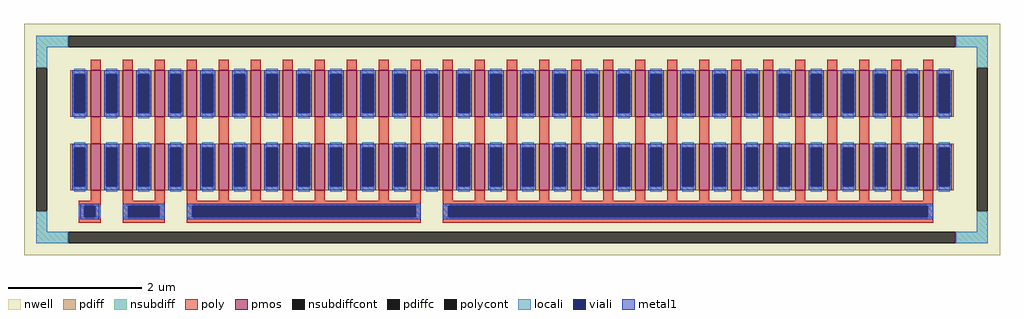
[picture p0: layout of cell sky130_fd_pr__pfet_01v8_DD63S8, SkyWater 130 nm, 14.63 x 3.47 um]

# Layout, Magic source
magic
tech sky130A
magscale 1 2
<< nwell >>
rect -1463 -397 1463 297
<< pmos >>
rect -1263 18 -1233 158
rect -1167 18 -1137 158
rect -1071 18 -1041 158
rect -975 18 -945 158
rect -879 18 -849 158
rect -783 18 -753 158
rect -687 18 -657 158
rect -591 18 -561 158
rect -495 18 -465 158
rect -399 18 -369 158
rect -303 18 -273 158
rect -207 18 -177 158
rect -111 18 -81 158
rect -15 18 15 158
rect 81 18 111 158
rect 177 18 207 158
rect 273 18 303 158
rect 369 18 399 158
rect 465 18 495 158
rect 561 18 591 158
rect 657 18 687 158
rect 753 18 783 158
rect 849 18 879 158
rect 945 18 975 158
rect 1041 18 1071 158
rect 1137 18 1167 158
rect 1233 18 1263 158
rect -1263 -202 -1233 -62
rect -1167 -202 -1137 -62
rect -1071 -202 -1041 -62
rect -975 -202 -945 -62
rect -879 -202 -849 -62
rect -783 -202 -753 -62
rect -687 -202 -657 -62
rect -591 -202 -561 -62
rect -495 -202 -465 -62
rect -399 -202 -369 -62
rect -303 -202 -273 -62
rect -207 -202 -177 -62
rect -111 -202 -81 -62
rect -15 -202 15 -62
rect 81 -202 111 -62
rect 177 -202 207 -62
rect 273 -202 303 -62
rect 369 -202 399 -62
rect 465 -202 495 -62
rect 561 -202 591 -62
rect 657 -202 687 -62
rect 753 -202 783 -62
rect 849 -202 879 -62
rect 945 -202 975 -62
rect 1041 -202 1071 -62
rect 1137 -202 1167 -62
rect 1233 -202 1263 -62
<< pdiff >>
rect -1325 146 -1263 158
rect -1325 30 -1313 146
rect -1279 30 -1263 146
rect -1325 18 -1263 30
rect -1233 146 -1167 158
rect -1233 30 -1217 146
rect -1183 30 -1167 146
rect -1233 18 -1167 30
rect -1137 146 -1071 158
rect -1137 30 -1121 146
rect -1087 30 -1071 146
rect -1137 18 -1071 30
rect -1041 146 -975 158
rect -1041 30 -1025 146
rect -991 30 -975 146
rect -1041 18 -975 30
rect -945 146 -879 158
rect -945 30 -929 146
rect -895 30 -879 146
rect -945 18 -879 30
rect -849 146 -783 158
rect -849 30 -833 146
rect -799 30 -783 146
rect -849 18 -783 30
rect -753 146 -687 158
rect -753 30 -737 146
rect -703 30 -687 146
rect -753 18 -687 30
rect -657 146 -591 158
rect -657 30 -641 146
rect -607 30 -591 146
rect -657 18 -591 30
rect -561 146 -495 158
rect -561 30 -545 146
rect -511 30 -495 146
rect -561 18 -495 30
rect -465 146 -399 158
rect -465 30 -449 146
rect -415 30 -399 146
rect -465 18 -399 30
rect -369 146 -303 158
rect -369 30 -353 146
rect -319 30 -303 146
rect -369 18 -303 30
rect -273 146 -207 158
rect -273 30 -257 146
rect -223 30 -207 146
rect -273 18 -207 30
rect -177 146 -111 158
rect -177 30 -161 146
rect -127 30 -111 146
rect -177 18 -111 30
rect -81 146 -15 158
rect -81 30 -65 146
rect -31 30 -15 146
rect -81 18 -15 30
rect 15 146 81 158
rect 15 30 31 146
rect 65 30 81 146
rect 15 18 81 30
rect 111 146 177 158
rect 111 30 127 146
rect 161 30 177 146
rect 111 18 177 30
rect 207 146 273 158
rect 207 30 223 146
rect 257 30 273 146
rect 207 18 273 30
rect 303 146 369 158
rect 303 30 319 146
rect 353 30 369 146
rect 303 18 369 30
rect 399 146 465 158
rect 399 30 415 146
rect 449 30 465 146
rect 399 18 465 30
rect 495 146 561 158
rect 495 30 511 146
rect 545 30 561 146
rect 495 18 561 30
rect 591 146 657 158
rect 591 30 607 146
rect 641 30 657 146
rect 591 18 657 30
rect 687 146 753 158
rect 687 30 703 146
rect 737 30 753 146
rect 687 18 753 30
rect 783 146 849 158
rect 783 30 799 146
rect 833 30 849 146
rect 783 18 849 30
rect 879 146 945 158
rect 879 30 895 146
rect 929 30 945 146
rect 879 18 945 30
rect 975 146 1041 158
rect 975 30 991 146
rect 1025 30 1041 146
rect 975 18 1041 30
rect 1071 146 1137 158
rect 1071 30 1087 146
rect 1121 30 1137 146
rect 1071 18 1137 30
rect 1167 146 1233 158
rect 1167 30 1183 146
rect 1217 30 1233 146
rect 1167 18 1233 30
rect 1263 146 1325 158
rect 1263 30 1279 146
rect 1313 30 1325 146
rect 1263 18 1325 30
rect -1325 -74 -1263 -62
rect -1325 -190 -1313 -74
rect -1279 -190 -1263 -74
rect -1325 -202 -1263 -190
rect -1233 -74 -1167 -62
rect -1233 -190 -1217 -74
rect -1183 -190 -1167 -74
rect -1233 -202 -1167 -190
rect -1137 -74 -1071 -62
rect -1137 -190 -1121 -74
rect -1087 -190 -1071 -74
rect -1137 -202 -1071 -190
rect -1041 -74 -975 -62
rect -1041 -190 -1025 -74
rect -991 -190 -975 -74
rect -1041 -202 -975 -190
rect -945 -74 -879 -62
rect -945 -190 -929 -74
rect -895 -190 -879 -74
rect -945 -202 -879 -190
rect -849 -74 -783 -62
rect -849 -190 -833 -74
rect -799 -190 -783 -74
rect -849 -202 -783 -190
rect -753 -74 -687 -62
rect -753 -190 -737 -74
rect -703 -190 -687 -74
rect -753 -202 -687 -190
rect -657 -74 -591 -62
rect -657 -190 -641 -74
rect -607 -190 -591 -74
rect -657 -202 -591 -190
rect -561 -74 -495 -62
rect -561 -190 -545 -74
rect -511 -190 -495 -74
rect -561 -202 -495 -190
rect -465 -74 -399 -62
rect -465 -190 -449 -74
rect -415 -190 -399 -74
rect -465 -202 -399 -190
rect -369 -74 -303 -62
rect -369 -190 -353 -74
rect -319 -190 -303 -74
rect -369 -202 -303 -190
rect -273 -74 -207 -62
rect -273 -190 -257 -74
rect -223 -190 -207 -74
rect -273 -202 -207 -190
rect -177 -74 -111 -62
rect -177 -190 -161 -74
rect -127 -190 -111 -74
rect -177 -202 -111 -190
rect -81 -74 -15 -62
rect -81 -190 -65 -74
rect -31 -190 -15 -74
rect -81 -202 -15 -190
rect 15 -74 81 -62
rect 15 -190 31 -74
rect 65 -190 81 -74
rect 15 -202 81 -190
rect 111 -74 177 -62
rect 111 -190 127 -74
rect 161 -190 177 -74
rect 111 -202 177 -190
rect 207 -74 273 -62
rect 207 -190 223 -74
rect 257 -190 273 -74
rect 207 -202 273 -190
rect 303 -74 369 -62
rect 303 -190 319 -74
rect 353 -190 369 -74
rect 303 -202 369 -190
rect 399 -74 465 -62
rect 399 -190 415 -74
rect 449 -190 465 -74
rect 399 -202 465 -190
rect 495 -74 561 -62
rect 495 -190 511 -74
rect 545 -190 561 -74
rect 495 -202 561 -190
rect 591 -74 657 -62
rect 591 -190 607 -74
rect 641 -190 657 -74
rect 591 -202 657 -190
rect 687 -74 753 -62
rect 687 -190 703 -74
rect 737 -190 753 -74
rect 687 -202 753 -190
rect 783 -74 849 -62
rect 783 -190 799 -74
rect 833 -190 849 -74
rect 783 -202 849 -190
rect 879 -74 945 -62
rect 879 -190 895 -74
rect 929 -190 945 -74
rect 879 -202 945 -190
rect 975 -74 1041 -62
rect 975 -190 991 -74
rect 1025 -190 1041 -74
rect 975 -202 1041 -190
rect 1071 -74 1137 -62
rect 1071 -190 1087 -74
rect 1121 -190 1137 -74
rect 1071 -202 1137 -190
rect 1167 -74 1233 -62
rect 1167 -190 1183 -74
rect 1217 -190 1233 -74
rect 1167 -202 1233 -190
rect 1263 -74 1325 -62
rect 1263 -190 1279 -74
rect 1313 -190 1325 -74
rect 1263 -202 1325 -190
<< pdiffc >>
rect -1313 30 -1279 146
rect -1217 30 -1183 146
rect -1121 30 -1087 146
rect -1025 30 -991 146
rect -929 30 -895 146
rect -833 30 -799 146
rect -737 30 -703 146
rect -641 30 -607 146
rect -545 30 -511 146
rect -449 30 -415 146
rect -353 30 -319 146
rect -257 30 -223 146
rect -161 30 -127 146
rect -65 30 -31 146
rect 31 30 65 146
rect 127 30 161 146
rect 223 30 257 146
rect 319 30 353 146
rect 415 30 449 146
rect 511 30 545 146
rect 607 30 641 146
rect 703 30 737 146
rect 799 30 833 146
rect 895 30 929 146
rect 991 30 1025 146
rect 1087 30 1121 146
rect 1183 30 1217 146
rect 1279 30 1313 146
rect -1313 -190 -1279 -74
rect -1217 -190 -1183 -74
rect -1121 -190 -1087 -74
rect -1025 -190 -991 -74
rect -929 -190 -895 -74
rect -833 -190 -799 -74
rect -737 -190 -703 -74
rect -641 -190 -607 -74
rect -545 -190 -511 -74
rect -449 -190 -415 -74
rect -353 -190 -319 -74
rect -257 -190 -223 -74
rect -161 -190 -127 -74
rect -65 -190 -31 -74
rect 31 -190 65 -74
rect 127 -190 161 -74
rect 223 -190 257 -74
rect 319 -190 353 -74
rect 415 -190 449 -74
rect 511 -190 545 -74
rect 607 -190 641 -74
rect 703 -190 737 -74
rect 799 -190 833 -74
rect 895 -190 929 -74
rect 991 -190 1025 -74
rect 1087 -190 1121 -74
rect 1183 -190 1217 -74
rect 1279 -190 1313 -74
<< nsubdiff >>
rect -1427 227 -1331 261
rect 1331 227 1427 261
rect -1427 165 -1393 227
rect 1393 165 1427 227
rect -1427 -327 -1393 -265
rect 1393 -327 1427 -265
rect -1427 -361 -1331 -327
rect 1331 -361 1427 -327
<< nsubdiffcont >>
rect -1331 227 1331 261
rect -1427 -265 -1393 165
rect 1393 -265 1427 165
rect -1331 -361 1331 -327
<< poly >>
rect -1263 158 -1233 189
rect -1167 158 -1137 189
rect -1071 158 -1041 189
rect -975 158 -945 189
rect -879 158 -849 189
rect -783 158 -753 189
rect -687 158 -657 189
rect -591 158 -561 189
rect -495 158 -465 189
rect -399 158 -369 189
rect -303 158 -273 189
rect -207 158 -177 189
rect -111 158 -81 189
rect -15 158 15 189
rect 81 158 111 189
rect 177 158 207 189
rect 273 158 303 189
rect 369 158 399 189
rect 465 158 495 189
rect 561 158 591 189
rect 657 158 687 189
rect 753 158 783 189
rect 849 158 879 189
rect 945 158 975 189
rect 1041 158 1071 189
rect 1137 158 1167 189
rect 1233 158 1263 189
rect -1263 -62 -1233 18
rect -1167 -62 -1137 18
rect -1071 -62 -1041 18
rect -975 -62 -945 18
rect -879 -62 -849 18
rect -783 -62 -753 18
rect -687 -62 -657 18
rect -591 -62 -561 18
rect -495 -62 -465 18
rect -399 -62 -369 18
rect -303 -62 -273 18
rect -207 -62 -177 18
rect -111 -62 -81 18
rect -15 -62 15 18
rect 81 -62 111 18
rect 177 -62 207 18
rect 273 -62 303 18
rect 369 -62 399 18
rect 465 -62 495 18
rect 561 -62 591 18
rect 657 -62 687 18
rect 753 -62 783 18
rect 849 -62 879 18
rect 945 -62 975 18
rect 1041 -62 1071 18
rect 1137 -62 1167 18
rect 1233 -62 1263 18
rect -1263 -233 -1233 -202
rect -1299 -249 -1233 -233
rect -1299 -283 -1283 -249
rect -1249 -283 -1233 -249
rect -1299 -299 -1233 -283
rect -1167 -233 -1137 -202
rect -1071 -233 -1041 -202
rect -1167 -249 -1041 -233
rect -1167 -283 -1151 -249
rect -1057 -283 -1041 -249
rect -1167 -299 -1041 -283
rect -975 -233 -945 -202
rect -879 -233 -849 -202
rect -783 -233 -753 -202
rect -687 -233 -657 -202
rect -591 -233 -561 -202
rect -495 -233 -465 -202
rect -399 -233 -369 -202
rect -303 -233 -273 -202
rect -975 -249 -273 -233
rect -975 -283 -959 -249
rect -289 -283 -273 -249
rect -975 -299 -273 -283
rect -207 -233 -177 -202
rect -111 -233 -81 -202
rect -15 -233 15 -202
rect 81 -233 111 -202
rect 177 -233 207 -202
rect 273 -233 303 -202
rect 369 -233 399 -202
rect 465 -233 495 -202
rect 561 -233 591 -202
rect 657 -233 687 -202
rect 753 -233 783 -202
rect 849 -233 879 -202
rect 945 -233 975 -202
rect 1041 -233 1071 -202
rect 1137 -233 1167 -202
rect 1233 -233 1263 -202
rect -207 -249 1263 -233
rect -207 -283 -191 -249
rect 1247 -283 1263 -249
rect -207 -299 1263 -283
<< polycont >>
rect -1283 -283 -1249 -249
rect -1151 -283 -1057 -249
rect -959 -283 -289 -249
rect -191 -283 1247 -249
<< locali >>
rect -1427 227 -1331 261
rect 1331 227 1427 261
rect -1427 165 -1393 227
rect 1393 165 1427 227
rect -1313 146 -1279 162
rect -1313 14 -1279 30
rect -1217 146 -1183 162
rect -1217 14 -1183 30
rect -1121 146 -1087 162
rect -1121 14 -1087 30
rect -1025 146 -991 162
rect -1025 14 -991 30
rect -929 146 -895 162
rect -929 14 -895 30
rect -833 146 -799 162
rect -833 14 -799 30
rect -737 146 -703 162
rect -737 14 -703 30
rect -641 146 -607 162
rect -641 14 -607 30
rect -545 146 -511 162
rect -545 14 -511 30
rect -449 146 -415 162
rect -449 14 -415 30
rect -353 146 -319 162
rect -353 14 -319 30
rect -257 146 -223 162
rect -257 14 -223 30
rect -161 146 -127 162
rect -161 14 -127 30
rect -65 146 -31 162
rect -65 14 -31 30
rect 31 146 65 162
rect 31 14 65 30
rect 127 146 161 162
rect 127 14 161 30
rect 223 146 257 162
rect 223 14 257 30
rect 319 146 353 162
rect 319 14 353 30
rect 415 146 449 162
rect 415 14 449 30
rect 511 146 545 162
rect 511 14 545 30
rect 607 146 641 162
rect 607 14 641 30
rect 703 146 737 162
rect 703 14 737 30
rect 799 146 833 162
rect 799 14 833 30
rect 895 146 929 162
rect 895 14 929 30
rect 991 146 1025 162
rect 991 14 1025 30
rect 1087 146 1121 162
rect 1087 14 1121 30
rect 1183 146 1217 162
rect 1183 14 1217 30
rect 1279 146 1313 162
rect 1279 14 1313 30
rect -1313 -74 -1279 -58
rect -1313 -206 -1279 -190
rect -1217 -74 -1183 -58
rect -1217 -206 -1183 -190
rect -1121 -74 -1087 -58
rect -1121 -206 -1087 -190
rect -1025 -74 -991 -58
rect -1025 -206 -991 -190
rect -929 -74 -895 -58
rect -929 -206 -895 -190
rect -833 -74 -799 -58
rect -833 -206 -799 -190
rect -737 -74 -703 -58
rect -737 -206 -703 -190
rect -641 -74 -607 -58
rect -641 -206 -607 -190
rect -545 -74 -511 -58
rect -545 -206 -511 -190
rect -449 -74 -415 -58
rect -449 -206 -415 -190
rect -353 -74 -319 -58
rect -353 -206 -319 -190
rect -257 -74 -223 -58
rect -257 -206 -223 -190
rect -161 -74 -127 -58
rect -161 -206 -127 -190
rect -65 -74 -31 -58
rect -65 -206 -31 -190
rect 31 -74 65 -58
rect 31 -206 65 -190
rect 127 -74 161 -58
rect 127 -206 161 -190
rect 223 -74 257 -58
rect 223 -206 257 -190
rect 319 -74 353 -58
rect 319 -206 353 -190
rect 415 -74 449 -58
rect 415 -206 449 -190
rect 511 -74 545 -58
rect 511 -206 545 -190
rect 607 -74 641 -58
rect 607 -206 641 -190
rect 703 -74 737 -58
rect 703 -206 737 -190
rect 799 -74 833 -58
rect 799 -206 833 -190
rect 895 -74 929 -58
rect 895 -206 929 -190
rect 991 -74 1025 -58
rect 991 -206 1025 -190
rect 1087 -74 1121 -58
rect 1087 -206 1121 -190
rect 1183 -74 1217 -58
rect 1183 -206 1217 -190
rect 1279 -74 1313 -58
rect 1279 -206 1313 -190
rect -1427 -327 -1393 -265
rect -1299 -283 -1283 -249
rect -1249 -283 -1233 -249
rect -1167 -283 -1151 -249
rect -1057 -283 -1041 -249
rect -975 -283 -959 -249
rect -289 -283 -273 -249
rect -207 -283 -191 -249
rect 1247 -283 1263 -249
rect 1393 -327 1427 -265
rect -1427 -361 -1331 -327
rect 1331 -361 1427 -327
<< viali >>
rect -1313 30 -1279 146
rect -1217 30 -1183 146
rect -1121 30 -1087 146
rect -1025 30 -991 146
rect -929 30 -895 146
rect -833 30 -799 146
rect -737 30 -703 146
rect -641 30 -607 146
rect -545 30 -511 146
rect -449 30 -415 146
rect -353 30 -319 146
rect -257 30 -223 146
rect -161 30 -127 146
rect -65 30 -31 146
rect 31 30 65 146
rect 127 30 161 146
rect 223 30 257 146
rect 319 30 353 146
rect 415 30 449 146
rect 511 30 545 146
rect 607 30 641 146
rect 703 30 737 146
rect 799 30 833 146
rect 895 30 929 146
rect 991 30 1025 146
rect 1087 30 1121 146
rect 1183 30 1217 146
rect 1279 30 1313 146
rect -1313 -190 -1279 -74
rect -1217 -190 -1183 -74
rect -1121 -190 -1087 -74
rect -1025 -190 -991 -74
rect -929 -190 -895 -74
rect -833 -190 -799 -74
rect -737 -190 -703 -74
rect -641 -190 -607 -74
rect -545 -190 -511 -74
rect -449 -190 -415 -74
rect -353 -190 -319 -74
rect -257 -190 -223 -74
rect -161 -190 -127 -74
rect -65 -190 -31 -74
rect 31 -190 65 -74
rect 127 -190 161 -74
rect 223 -190 257 -74
rect 319 -190 353 -74
rect 415 -190 449 -74
rect 511 -190 545 -74
rect 607 -190 641 -74
rect 703 -190 737 -74
rect 799 -190 833 -74
rect 895 -190 929 -74
rect 991 -190 1025 -74
rect 1087 -190 1121 -74
rect 1183 -190 1217 -74
rect 1279 -190 1313 -74
rect -1283 -283 -1249 -249
rect -1151 -283 -1057 -249
rect -959 -283 -289 -249
rect -191 -283 1247 -249
<< metal1 >>
rect -1319 146 -1273 158
rect -1319 30 -1313 146
rect -1279 30 -1273 146
rect -1319 18 -1273 30
rect -1223 146 -1177 158
rect -1223 30 -1217 146
rect -1183 30 -1177 146
rect -1223 18 -1177 30
rect -1127 146 -1081 158
rect -1127 30 -1121 146
rect -1087 30 -1081 146
rect -1127 18 -1081 30
rect -1031 146 -985 158
rect -1031 30 -1025 146
rect -991 30 -985 146
rect -1031 18 -985 30
rect -935 146 -889 158
rect -935 30 -929 146
rect -895 30 -889 146
rect -935 18 -889 30
rect -839 146 -793 158
rect -839 30 -833 146
rect -799 30 -793 146
rect -839 18 -793 30
rect -743 146 -697 158
rect -743 30 -737 146
rect -703 30 -697 146
rect -743 18 -697 30
rect -647 146 -601 158
rect -647 30 -641 146
rect -607 30 -601 146
rect -647 18 -601 30
rect -551 146 -505 158
rect -551 30 -545 146
rect -511 30 -505 146
rect -551 18 -505 30
rect -455 146 -409 158
rect -455 30 -449 146
rect -415 30 -409 146
rect -455 18 -409 30
rect -359 146 -313 158
rect -359 30 -353 146
rect -319 30 -313 146
rect -359 18 -313 30
rect -263 146 -217 158
rect -263 30 -257 146
rect -223 30 -217 146
rect -263 18 -217 30
rect -167 146 -121 158
rect -167 30 -161 146
rect -127 30 -121 146
rect -167 18 -121 30
rect -71 146 -25 158
rect -71 30 -65 146
rect -31 30 -25 146
rect -71 18 -25 30
rect 25 146 71 158
rect 25 30 31 146
rect 65 30 71 146
rect 25 18 71 30
rect 121 146 167 158
rect 121 30 127 146
rect 161 30 167 146
rect 121 18 167 30
rect 217 146 263 158
rect 217 30 223 146
rect 257 30 263 146
rect 217 18 263 30
rect 313 146 359 158
rect 313 30 319 146
rect 353 30 359 146
rect 313 18 359 30
rect 409 146 455 158
rect 409 30 415 146
rect 449 30 455 146
rect 409 18 455 30
rect 505 146 551 158
rect 505 30 511 146
rect 545 30 551 146
rect 505 18 551 30
rect 601 146 647 158
rect 601 30 607 146
rect 641 30 647 146
rect 601 18 647 30
rect 697 146 743 158
rect 697 30 703 146
rect 737 30 743 146
rect 697 18 743 30
rect 793 146 839 158
rect 793 30 799 146
rect 833 30 839 146
rect 793 18 839 30
rect 889 146 935 158
rect 889 30 895 146
rect 929 30 935 146
rect 889 18 935 30
rect 985 146 1031 158
rect 985 30 991 146
rect 1025 30 1031 146
rect 985 18 1031 30
rect 1081 146 1127 158
rect 1081 30 1087 146
rect 1121 30 1127 146
rect 1081 18 1127 30
rect 1177 146 1223 158
rect 1177 30 1183 146
rect 1217 30 1223 146
rect 1177 18 1223 30
rect 1273 146 1319 158
rect 1273 30 1279 146
rect 1313 30 1319 146
rect 1273 18 1319 30
rect -1319 -74 -1273 -62
rect -1319 -190 -1313 -74
rect -1279 -190 -1273 -74
rect -1319 -202 -1273 -190
rect -1223 -74 -1177 -62
rect -1223 -190 -1217 -74
rect -1183 -190 -1177 -74
rect -1223 -202 -1177 -190
rect -1127 -74 -1081 -62
rect -1127 -190 -1121 -74
rect -1087 -190 -1081 -74
rect -1127 -202 -1081 -190
rect -1031 -74 -985 -62
rect -1031 -190 -1025 -74
rect -991 -190 -985 -74
rect -1031 -202 -985 -190
rect -935 -74 -889 -62
rect -935 -190 -929 -74
rect -895 -190 -889 -74
rect -935 -202 -889 -190
rect -839 -74 -793 -62
rect -839 -190 -833 -74
rect -799 -190 -793 -74
rect -839 -202 -793 -190
rect -743 -74 -697 -62
rect -743 -190 -737 -74
rect -703 -190 -697 -74
rect -743 -202 -697 -190
rect -647 -74 -601 -62
rect -647 -190 -641 -74
rect -607 -190 -601 -74
rect -647 -202 -601 -190
rect -551 -74 -505 -62
rect -551 -190 -545 -74
rect -511 -190 -505 -74
rect -551 -202 -505 -190
rect -455 -74 -409 -62
rect -455 -190 -449 -74
rect -415 -190 -409 -74
rect -455 -202 -409 -190
rect -359 -74 -313 -62
rect -359 -190 -353 -74
rect -319 -190 -313 -74
rect -359 -202 -313 -190
rect -263 -74 -217 -62
rect -263 -190 -257 -74
rect -223 -190 -217 -74
rect -263 -202 -217 -190
rect -167 -74 -121 -62
rect -167 -190 -161 -74
rect -127 -190 -121 -74
rect -167 -202 -121 -190
rect -71 -74 -25 -62
rect -71 -190 -65 -74
rect -31 -190 -25 -74
rect -71 -202 -25 -190
rect 25 -74 71 -62
rect 25 -190 31 -74
rect 65 -190 71 -74
rect 25 -202 71 -190
rect 121 -74 167 -62
rect 121 -190 127 -74
rect 161 -190 167 -74
rect 121 -202 167 -190
rect 217 -74 263 -62
rect 217 -190 223 -74
rect 257 -190 263 -74
rect 217 -202 263 -190
rect 313 -74 359 -62
rect 313 -190 319 -74
rect 353 -190 359 -74
rect 313 -202 359 -190
rect 409 -74 455 -62
rect 409 -190 415 -74
rect 449 -190 455 -74
rect 409 -202 455 -190
rect 505 -74 551 -62
rect 505 -190 511 -74
rect 545 -190 551 -74
rect 505 -202 551 -190
rect 601 -74 647 -62
rect 601 -190 607 -74
rect 641 -190 647 -74
rect 601 -202 647 -190
rect 697 -74 743 -62
rect 697 -190 703 -74
rect 737 -190 743 -74
rect 697 -202 743 -190
rect 793 -74 839 -62
rect 793 -190 799 -74
rect 833 -190 839 -74
rect 793 -202 839 -190
rect 889 -74 935 -62
rect 889 -190 895 -74
rect 929 -190 935 -74
rect 889 -202 935 -190
rect 985 -74 1031 -62
rect 985 -190 991 -74
rect 1025 -190 1031 -74
rect 985 -202 1031 -190
rect 1081 -74 1127 -62
rect 1081 -190 1087 -74
rect 1121 -190 1127 -74
rect 1081 -202 1127 -190
rect 1177 -74 1223 -62
rect 1177 -190 1183 -74
rect 1217 -190 1223 -74
rect 1177 -202 1223 -190
rect 1273 -74 1319 -62
rect 1273 -190 1279 -74
rect 1313 -190 1319 -74
rect 1273 -202 1319 -190
rect -1295 -249 -1237 -243
rect -1295 -283 -1283 -249
rect -1249 -283 -1237 -249
rect -1295 -289 -1237 -283
rect -1167 -249 -1041 -243
rect -1167 -283 -1151 -249
rect -1057 -283 -1041 -249
rect -1167 -289 -1041 -283
rect -975 -249 -273 -243
rect -975 -283 -959 -249
rect -289 -283 -273 -249
rect -975 -289 -273 -283
rect -207 -249 1263 -243
rect -207 -283 -191 -249
rect 1247 -283 1263 -249
rect -207 -289 1263 -283
<< properties >>
string FIXED_BBOX -1410 -424 1410 424
string gencell sky130_fd_pr__pfet_01v8
string library sky130
string parameters w 0.7 l 0.15 m 2 nf 27 diffcov 100 polycov 100 guard 1 glc 1 grc 1 gtc 1 gbc 1 tbcov 100 rlcov 100 topc 1 botc 1 poverlap 0 doverlap 1 lmin 0.15 wmin 0.42 compatible {sky130_fd_pr__pfet_01v8  sky130_fd_pr__pfet_01v8_lvt sky130_fd_pr__pfet_01v8_hvt  sky130_fd_pr__pfet_g5v0d10v5} full_metal 1 viasrc 100 viadrn 100 viagate 100 viagb 0 viagr 0 viagl 0 viagt 0
<< end >>
